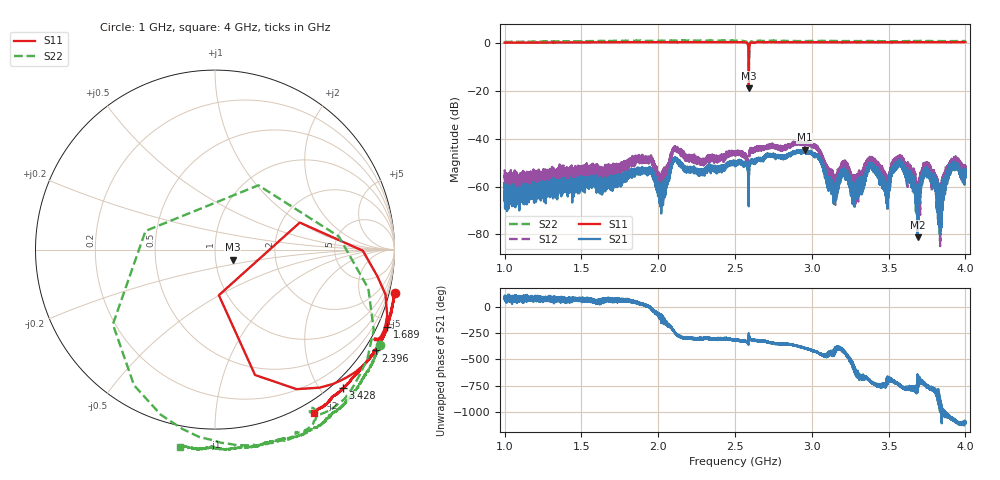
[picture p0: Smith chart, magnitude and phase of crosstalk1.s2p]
!Agilent Technologies,N5230C,SG49000117,A.08.50.07
!Agilent N5230C: A.08.50.07
!Date: Monday, May 20, 2024 21:32:30
!Correction: S11(Full 2 Port(1,2))
!S21(Full 2 Port(1,2))
!S12(Full 2 Port(1,2))
!S22(Full 2 Port(1,2))
!S2P File: Measurements: S11, S21, S12, S22:
# Hz S  MA  R 50
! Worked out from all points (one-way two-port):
!   20001 points, 1 GHz to 4 GHz, reference 50 ohm
!   highest |S21| = -44.62 dB at 2.953 GHz (marker M1); lowest = -81.3 dB at 3.689 GHz (marker M2)
!   lowest |S11| = -18.9 dB at 2.59 GHz (marker M3), VSWR 1.26, Z = 60.5 - j6.92 ohm
!   |S11| at or under -10 dB: 2.589067 GHz to 2.590608 GHz (1.541 MHz wide, 0.0595 % of centre)
!   |S22| runs from -9.6 to 1.2 dB; largest |S21 - S12| = 0.0052
!   S11 on the Smith chart (normalised r, x): 1 GHz: -1.06, -8.35; 1.689 GHz: -0.57, -4.60; 2.396 GHz: -0.37, -3.44; 3.428 GHz: -0.15, -2.27; 4 GHz: -0.13, -1.77
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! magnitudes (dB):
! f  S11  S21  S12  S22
! 1 GHz  0.3  -61.8  -59.6  0.5
! 1.5 GHz  0.4  -58.1  -54.9  0.8
! 1.689 GHz  0.4  -58.3  -53.0  0.9
! 1.948 GHz  0.5  -53.1  -50.0  1.0
! 2 GHz  0.5  -58.2  -54.6  1.0
! 2.111 GHz  0.4  -47.7  -44.2  1.1
! 2.396 GHz  0.5  -53.1  -47.2  1.1
! 2.5 GHz  0.5  -50.1  -45.8  1.1
! 2.59 GHz  -18.9  -59.1  -62.6  -9.4
! 2.953 GHz  0.4  -44.6  -42.0  0.9
! 3 GHz  0.4  -45.6  -42.8  0.9
! 3.148 GHz  0.4  -61.8  -60.6  1.0
! 3.206 GHz  0.4  -54.2  -49.9  0.9
! 3.277 GHz  0.4  -62.1  -66.8  0.9
! 3.428 GHz  0.4  -54.6  -51.1  0.9
! 3.5 GHz  0.4  -60.4  -60.0  0.8
! 3.575 GHz  0.4  -49.7  -49.5  0.9
! 3.689 GHz  0.5  -81.3  -64.8  1.0
! 3.738 GHz  0.5  -54.1  -51.0  0.9
! 3.831 GHz  0.5  -66.9  -68.6  0.9
! 3.912 GHz  0.5  -52.8  -49.3  0.9
! 4 GHz  0.5  -55.6  -53.0  1.0
